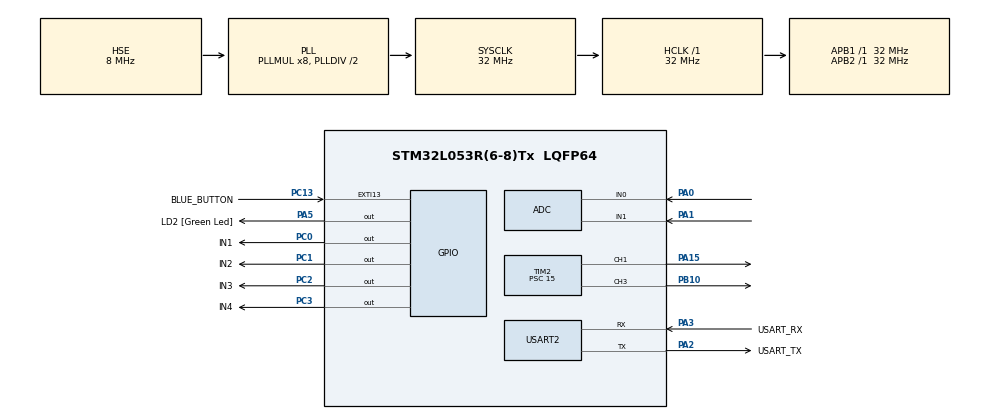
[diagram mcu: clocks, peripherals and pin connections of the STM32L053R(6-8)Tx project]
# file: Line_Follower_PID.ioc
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ADC.SamplingTime=ADC_SAMPLETIME_160CYCLES_5
Mcu.Family=STM32L0
Mcu.Name=STM32L053R(6-8)Tx
Mcu.Package=LQFP64
NVIC.EXTI4_15_IRQn=true\:1\:0\:true\:false\:true\:true\:true\:true
PA0.Mode=IN0
PA0.Signal=ADC_IN0
PA1.Mode=IN1
PA1.Signal=ADC_IN1
PA13.GPIO_Label=TMS
PA13.Mode=Serial_Wire
PA13.Signal=SYS_SWDIO
PA14.GPIO_Label=TCK
PA14.Mode=Serial_Wire
PA14.Signal=SYS_SWCLK
PA15.Signal=S_TIM2_CH1
PA2.GPIO_Label=USART_TX
PA2.Mode=Asynchronous
PA2.Signal=USART2_TX
PA3.GPIO_Label=USART_RX
PA3.Mode=Asynchronous
PA3.Signal=USART2_RX
PA5.GPIO_Label=LD2 [Green Led]
PA5.Signal=GPIO_Output
PB10.Signal=S_TIM2_CH3
PC0.GPIO_Label=IN1
PC0.Signal=GPIO_Output
PC1.GPIO_Label=IN2
PC1.Signal=GPIO_Output
PC13.GPIO_Label=BLUE_BUTTON
PC13.GPIO_ModeDefaultEXTI=GPIO_MODE_IT_FALLING
PC13.Signal=GPXTI13
PC14-OSC32_IN.Mode=LSE-External-Oscillator
PC14-OSC32_IN.Signal=RCC_OSC32_IN
PC15-OSC32_OUT.Mode=LSE-External-Oscillator
PC15-OSC32_OUT.Signal=RCC_OSC32_OUT
PC2.GPIO_Label=IN3
PC2.Signal=GPIO_Output
PC3.GPIO_Label=IN4
PC3.Signal=GPIO_Output
PH0-OSC_IN.Mode=HSE-External-Clock-Source
PH0-OSC_IN.Signal=RCC_OSC_IN
PH1-OSC_OUT.Signal=RCC_OSC_OUT
ProjectManager.HeapSize=0x200
ProjectManager.StackSize=0x400
ProjectManager.TargetToolchain=STM32CubeIDE
RCC.AHBFreq_Value=32000000
RCC.APB1Freq_Value=32000000
RCC.APB1TimFreq_Value=32000000
RCC.APB2Freq_Value=32000000
RCC.APB2TimFreq_Value=32000000
RCC.HCLKFreq_Value=32000000
RCC.HSE_VALUE=8000000
RCC.HSI16_VALUE=16000000
RCC.HSI48_VALUE=48000000
RCC.HSI_VALUE=16000000
RCC.MSI_VALUE=2097000
RCC.PLLMUL=RCC_PLLMUL_8
RCC.PLLSourceVirtual=RCC_PLLSOURCE_HSE
RCC.SYSCLKFreq_VALUE=32000000
RCC.SYSCLKSource=RCC_SYSCLKSOURCE_PLLCLK
RCC.VCOOutputFreq_Value=64000000
SH.S_TIM2_CH1.0=TIM2_CH1,PWM Generation1 CH1
SH.S_TIM2_CH3.0=TIM2_CH3,PWM Generation3 CH3
TIM2.Channel-PWM\ Generation1\ CH1=TIM_CHANNEL_1
TIM2.Channel-PWM\ Generation3\ CH3=TIM_CHANNEL_3
TIM2.Period=100
TIM2.Prescaler=15
TIM2.Pulse-PWM\ Generation1\ CH1=25
TIM2.Pulse-PWM\ Generation3\ CH3=25
USART2.VirtualMode-Asynchronous=VM_ASYNC
board=NUCLEO-L053R8

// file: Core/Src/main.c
/* USER CODE BEGIN Header */
/**
  ******************************************************************************
  * @file           : main.c
  * @brief          : Main program body
  ******************************************************************************
  * @attention
  *
  * Copyright (c) 2022 STMicroelectronics.
  * All rights reserved.
  *
  * This software is licensed under terms that can be found in the LICENSE file
  * in the root directory of this software component.
  * If no LICENSE file comes with this software, it is provided AS-IS.
  *
  ******************************************************************************
  */
/* USER CODE END Header */
#include "main.h"
#include "adc.h"
#include "tim.h"
#include "usart.h"
#include "gpio.h"

/* USER CODE BEGIN Includes */

#include <stdio.h>
#include "L298N.h"

/* USER CODE END Includes */

void SystemClock_Config(void);

/* USER CODE BEGIN 0 */

int __io_putchar(int ch)
{
  if (ch == '\n') {
    __io_putchar('\r');
  }

  HAL_UART_Transmit(&huart2, (uint8_t*)&ch, 1, HAL_MAX_DELAY);

  return 1;
}

volatile int on = 0;

void HAL_GPIO_EXTI_Callback(uint16_t GPIO_Pin)
{
  if (GPIO_Pin == BLUE_BUTTON_Pin) {
	  if(on){
		  on = 0;
	  }else{
		  on = 1;
	  }

  }
}

/* USER CODE END 0 */

int main(void)
{

  /* MCU Configuration--------------------------------------------------------*/

  /* Reset of all peripherals, Initializes the Flash interface and the Systick. */
  HAL_Init();

  /* Configure the system clock */
  SystemClock_Config();

  /* Initialize all configured peripherals */
  MX_GPIO_Init();
  MX_USART2_UART_Init();
  MX_ADC_Init();
  MX_TIM2_Init();

  /* Infinite loop */
  /* USER CODE BEGIN WHILE */

  HAL_TIM_Base_Start_IT(&htim2);
  HAL_TIM_PWM_Start(&htim2, TIM_CHANNEL_1);
  HAL_TIM_PWM_Start(&htim2, TIM_CHANNEL_3);

  HAL_ADCEx_Calibration_Start(&hadc, ADC_SINGLE_ENDED);

  int roznica = 0;
  int value[2];

  while (1)
  {

	  while(on){

		  	  HAL_ADC_Start(&hadc);
		  	  HAL_ADC_PollForConversion(&hadc, HAL_MAX_DELAY);
		  	  value[0] = HAL_ADC_GetValue(&hadc);

		  	  HAL_ADC_Start(&hadc);
		  	  HAL_ADC_PollForConversion(&hadc, HAL_MAX_DELAY);
		  	  value[1] = HAL_ADC_GetValue(&hadc);

		  	  roznica = value[0] - value[1];

		  	  if(roznica > 30)
		  	  {
		  		printf("roznica = %i (lewa strona)\n", roznica);
		  			left_motor_drive(75,"BACKWARD");
		  			right_motor_drive(75,"FORWARD");
		  	  }else if(roznica < -30){
		  		printf("roznica = %i (prawa strona)\n", roznica);
		  			left_motor_drive(75,"FORWARD");
		  			right_motor_drive(75,"BACKWARD");
		  	  }else{
		  		printf("roznica = %i (srodek)\n", roznica);
	  			left_motor_drive(75,"FORWARD");
	  			right_motor_drive(75,"FORWARD");
		  	  }
	  }
		left_motor_drive(100,"FAST STOP");
		right_motor_drive(100,"FAST STOP");

    /* USER CODE END WHILE */

  }
}

void SystemClock_Config(void)
{
  RCC_OscInitTypeDef RCC_OscInitStruct = {0};
  RCC_ClkInitTypeDef RCC_ClkInitStruct = {0};
  RCC_PeriphCLKInitTypeDef PeriphClkInit = {0};

  /** Configure the main internal regulator output voltage
  */
  __HAL_PWR_VOLTAGESCALING_CONFIG(PWR_REGULATOR_VOLTAGE_SCALE1);

  /** Initializes the RCC Oscillators according to the specified parameters
  * in the RCC_OscInitTypeDef structure.
  */
  RCC_OscInitStruct.OscillatorType = RCC_OSCILLATORTYPE_HSE;
  RCC_OscInitStruct.HSEState = RCC_HSE_BYPASS;
  RCC_OscInitStruct.PLL.PLLState = RCC_PLL_ON;
  RCC_OscInitStruct.PLL.PLLSource = RCC_PLLSOURCE_HSE;
  RCC_OscInitStruct.PLL.PLLMUL = RCC_PLLMUL_8;
  RCC_OscInitStruct.PLL.PLLDIV = RCC_PLLDIV_2;
  if (HAL_RCC_OscConfig(&RCC_OscInitStruct) != HAL_OK)
  {
    Error_Handler();
  }

  /** Initializes the CPU, AHB and APB buses clocks
  */
  RCC_ClkInitStruct.ClockType = RCC_CLOCKTYPE_HCLK|RCC_CLOCKTYPE_SYSCLK
                              |RCC_CLOCKTYPE_PCLK1|RCC_CLOCKTYPE_PCLK2;
  RCC_ClkInitStruct.SYSCLKSource = RCC_SYSCLKSOURCE_PLLCLK;
  RCC_ClkInitStruct.AHBCLKDivider = RCC_SYSCLK_DIV1;
  RCC_ClkInitStruct.APB1CLKDivider = RCC_HCLK_DIV1;
  RCC_ClkInitStruct.APB2CLKDivider = RCC_HCLK_DIV1;

  if (HAL_RCC_ClockConfig(&RCC_ClkInitStruct, FLASH_LATENCY_1) != HAL_OK)
  {
    Error_Handler();
  }
  PeriphClkInit.PeriphClockSelection = RCC_PERIPHCLK_USART2;
  PeriphClkInit.Usart2ClockSelection = RCC_USART2CLKSOURCE_PCLK1;
  if (HAL_RCCEx_PeriphCLKConfig(&PeriphClkInit) != HAL_OK)
  {
    Error_Handler();
  }
}

void Error_Handler(void)
{
  __disable_irq();
  while (1)
  {
  }
}
